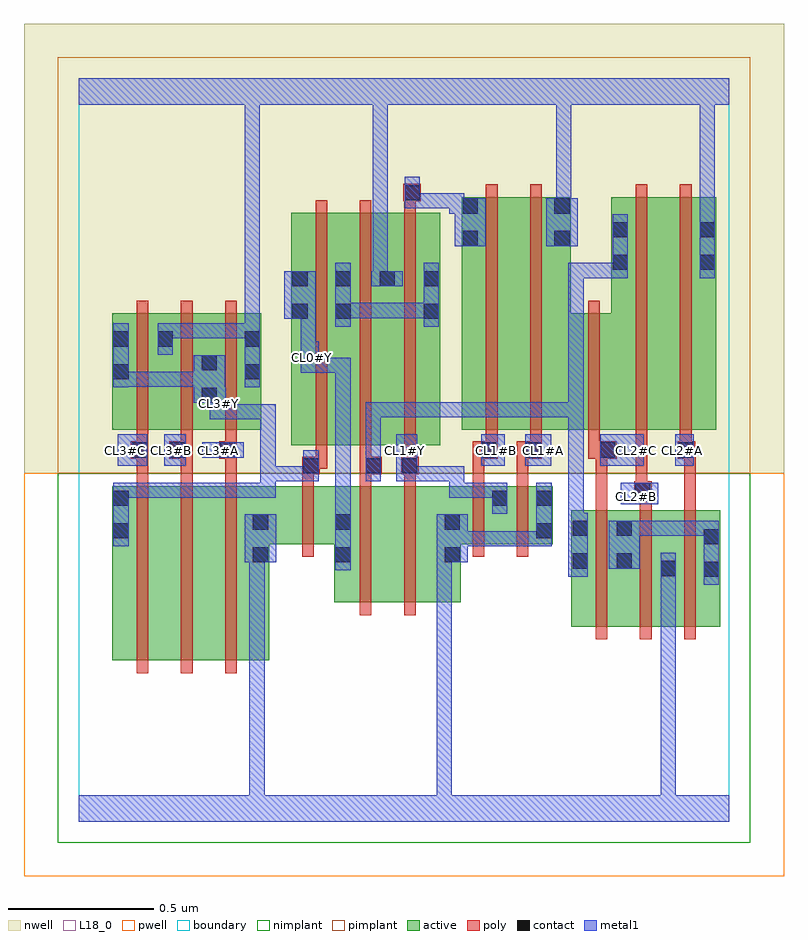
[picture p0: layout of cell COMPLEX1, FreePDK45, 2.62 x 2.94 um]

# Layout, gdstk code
import gdstk
lib = gdstk.Library(unit=1e-6, precision=1e-09)
def R(c, l, rs):  # rectangles x0, y0, x1, y1
    for r in rs: c.add(gdstk.rectangle(r[:2], r[2:], *l))
def A(c, l, x, y, w, h, nx, ny, dx, dy):  # array of equal rectangles
    R(c, l, [(x+i*dx, y+j*dy, x+i*dx+w, y+j*dy+h) for i in range(nx) for j in range(ny)])
active = (1, 0)
pwell = (2, 0)
nwell = (3, 0)
nimplant = (4, 0)
pimplant = (5, 0)
poly = (9, 0)
contact = (10, 0)
metal1 = (11, 0)
L18_0 = (18, 0)
boundary = (235, 0)

complex1 = lib.new_cell('COMPLEX1')
R(complex1, active, [(0.116,0.556,0.296,1.156), (0.116,0.556,0.176,1.156), (0.296,0.556,0.448,1.156), (0.448,0.556,0.656,1.156), (1.696,0.672,1.908,1.072), (1.848,0.672,2.06,1.072), (2,0.672,2.208,1.072), (2,0.672,2.06,0.93), (0.88,0.756,0.94,1.062), (0.88,0.756,1.064,1.156), (1.064,0.756,1.316,1.156), (1.256,0.756,1.316,1.062), (1.696,0.756,1.756,1.072), (1.848,0.756,1.908,1.04), (2.148,0.756,2.208,1.072), (0.596,0.882,0.656,1.156), (0.596,0.956,0.94,1.156), (1.256,0.956,1.48,1.156), (1.42,0.956,1.632,1.156), (1.42,0.956,1.48,1.144), (1.572,0.956,1.632,1.156), (0.732,1.296,0.792,2.096), (0.732,1.296,0.94,2.096), (0.88,1.296,1.092,2.096), (1.032,1.296,1.244,2.096), (1.184,1.296,1.244,2.044), (0.116,1.35,0.328,1.75), (0.116,1.35,0.176,1.75), (0.268,1.35,0.48,1.75), (0.42,1.35,0.628,1.75), (0.568,1.35,0.628,1.75), (1.318,1.35,1.498,2.15), (1.318,1.35,1.378,2.15), (1.498,1.35,1.694,2.15), (1.634,1.35,1.894,1.75), (1.834,1.35,2.014,2.15), (2.014,1.35,2.194,2.15), (2.134,1.35,2.194,2.068), (0.42,1.438,0.48,1.644), (1.834,1.576,1.894,2.068), (0.268,1.632,0.328,1.692), (1.032,1.654,1.092,2.096), (0.88,1.686,0.94,2.044), (1.634,1.73,1.694,2.15)])
R(complex1, pwell, [(-0.188,-0.188,2.428,1.2)])
R(complex1, nwell, [(-0.188,1.2,2.428,2.748)])
R(complex1, nimplant, [(-0.072,-0.072,2.312,1.2)])
R(complex1, pimplant, [(-0.072,1.2,2.312,2.632)])
A(complex1, poly, 0.2, 0.512, 0.04, 0.688, 3, 1, 0.152, 0)
A(complex1, poly, 1.78, 0.628, 0.04, 0.488, 3, 1, 0.152, 0)
A(complex1, poly, 0.2, 1.16, 0.04, 0.13, 3, 1, 0.152, 0)
A(complex1, poly, 0.816, 1.216, 0.04, 0.076, 3, 1, 0.152, 0)
A(complex1, poly, 0.816, 1.252, 0.04, 0.888, 3, 1, 0.152, 0)
A(complex1, poly, 0.2, 1.27, 0.04, 0.076, 3, 1, 0.152, 0)
A(complex1, poly, 0.2, 1.306, 0.04, 0.488, 3, 1, 0.152, 0)
R(complex1, poly, [(0.968,0.712,1.008,1.2), (1.12,0.712,1.16,1.2), (0.77,0.912,0.81,1.2), (1.356,0.912,1.396,1.2), (1.508,0.912,1.548,1.2), (1.78,1.076,1.82,1.29), (1.932,1.076,1.972,1.152), (2.084,1.076,2.124,1.29), (1.912,1.112,1.972,1.172), (1.918,1.132,1.958,1.172), (1.918,1.132,1.958,1.172), (1.918,1.132,1.958,1.346), (0.77,1.16,0.81,1.236), (0.968,1.16,1.008,1.236), (1.12,1.16,1.16,1.236), (1.356,1.16,1.396,1.29), (1.508,1.16,1.548,1.29), (0.77,1.196,0.83,1.256), (0.968,1.196,1.008,1.236), (0.968,1.196,1.008,1.236), (0.968,1.196,1.044,1.256), (1.11,1.196,1.17,1.256), (0.79,1.216,0.83,1.256), (0.79,1.216,0.856,1.256), (1.12,1.216,1.16,1.256), (1.12,1.216,1.16,1.256), (0.18,1.25,0.24,1.31), (0.312,1.25,0.392,1.31), (0.352,1.25,0.392,1.29), (0.352,1.25,0.392,1.29), (0.484,1.25,0.544,1.31), (1.356,1.25,1.442,1.31), (1.508,1.25,1.594,1.31), (1.754,1.25,1.852,1.31), (1.78,1.25,1.82,1.29), (1.78,1.25,1.82,1.29), (2.062,1.25,2.122,1.31), (2.082,1.25,2.122,1.29), (2.082,1.25,2.124,1.29), (0.2,1.27,0.24,1.31), (0.2,1.27,0.24,1.31), (0.504,1.27,0.544,1.31), (0.504,1.27,0.544,1.31), (1.402,1.27,1.442,1.346), (1.402,1.27,1.442,1.31), (1.402,1.27,1.442,1.31), (1.554,1.27,1.594,1.346), (1.554,1.27,1.594,1.31), (1.554,1.27,1.594,1.31), (1.754,1.27,1.794,1.346), (2.07,1.27,2.11,1.346), (1.402,1.306,1.442,2.194), (1.554,1.306,1.594,2.194), (1.754,1.306,1.794,1.794), (1.918,1.306,1.958,2.194), (2.07,1.306,2.11,2.194), (1.12,2.1,1.16,2.176), (1.118,2.136,1.178,2.196)])
A(complex1, contact, 0.884, 1.844, 0.052, 0.052, 3, 1, 0.152, 0)
R(complex1, contact, [(2.152,0.844,2.204,0.896), (2.004,0.846,2.056,0.898), (1.7,0.872,1.752,0.924), (1.852,0.872,1.904,0.924), (0.6,0.894,0.652,0.946), (0.884,0.894,0.936,0.946), (1.26,0.894,1.312,0.946), (2.152,0.956,2.204,1.008), (0.12,0.976,0.172,1.028), (1.576,0.976,1.628,1.028), (1.7,0.984,1.752,1.036), (1.852,0.984,1.904,1.036), (0.6,1.006,0.652,1.058), (0.884,1.006,0.936,1.058), (1.26,1.006,1.312,1.058), (0.12,1.088,0.172,1.14), (1.424,1.088,1.476,1.14), (1.576,1.088,1.628,1.14), (1.916,1.116,1.968,1.168), (0.774,1.2,0.826,1.252), (0.988,1.2,1.04,1.252), (1.114,1.2,1.166,1.252), (0.184,1.254,0.236,1.306), (0.316,1.254,0.368,1.306), (0.488,1.254,0.54,1.306), (1.386,1.254,1.438,1.306), (1.538,1.254,1.59,1.306), (1.796,1.254,1.848,1.306), (2.066,1.254,2.118,1.306), (0.424,1.442,0.476,1.494), (0.12,1.524,0.172,1.576), (0.572,1.524,0.624,1.576), (0.424,1.554,0.476,1.606), (0.12,1.636,0.172,1.688), (0.272,1.636,0.324,1.688), (0.572,1.636,0.624,1.688), (0.736,1.732,0.788,1.784), (0.884,1.732,0.936,1.784), (1.188,1.732,1.24,1.784), (0.736,1.844,0.788,1.896), (1.838,1.9,1.89,1.952), (2.138,1.9,2.19,1.952), (1.322,1.982,1.374,2.034), (1.638,1.982,1.69,2.034), (1.838,2.012,1.89,2.064), (2.138,2.012,2.19,2.064), (1.322,2.094,1.374,2.146), (1.638,2.094,1.69,2.146), (1.122,2.14,1.174,2.192)])
R(complex1, metal1, [(0,0,2.24,0.092), (0.588,0.04,0.64,0.092), (0.588,0.04,0.64,0.092), (0.588,0.04,0.64,0.092), (0.588,0.04,0.64,0.092), (0.588,0.04,0.64,0.092), (0.588,0.04,0.64,0.092), (0.588,0.04,0.64,0.092), (0.588,0.04,0.64,0.092), (0.588,0.04,0.64,0.946), (1.232,0.04,1.284,0.092), (1.232,0.04,1.284,0.092), (1.232,0.04,1.284,0.092), (1.232,0.04,1.284,0.092), (1.232,0.04,1.284,0.092), (1.232,0.04,1.284,0.092), (1.232,0.04,1.284,0.092), (1.232,0.04,1.284,0.092), (1.232,0.04,1.284,0.092), (1.232,0.04,1.284,0.092), (1.232,0.04,1.284,0.092), (1.232,0.04,1.284,0.092), (1.232,0.04,1.284,0.092), (1.232,0.04,1.284,0.092), (1.232,0.04,1.284,0.946), (2.004,0.04,2.056,0.092), (2.004,0.04,2.056,0.092), (2.004,0.04,2.056,0.092), (2.004,0.04,2.056,0.092), (2.004,0.04,2.056,0.092), (2.004,0.04,2.056,0.092), (2.004,0.04,2.056,0.092), (2.004,0.04,2.056,0.092), (2.004,0.04,2.056,0.092), (2.004,0.04,2.056,0.092), (2.004,0.04,2.056,0.092), (2.004,0.04,2.056,0.092), (2.004,0.04,2.056,0.87), (2.152,0.816,2.204,1.036), (2.004,0.818,2.056,0.926), (1.686,0.844,1.752,1.064), (0.884,0.866,0.936,1.086), (1.824,0.872,1.932,1.036), (0.572,0.894,0.68,1.058), (1.232,0.894,1.284,0.946), (1.232,0.894,1.284,0.946), (1.232,0.894,1.34,1.058), (0.12,0.948,0.172,1.168), (1.288,0.948,1.48,1), (1.428,0.948,1.48,1), (1.428,0.948,1.48,1), (1.428,0.948,1.48,1), (1.428,0.948,1.628,1), (1.576,0.948,1.628,1), (1.576,0.948,1.628,1), (1.576,0.948,1.628,1.168), (1.88,0.984,1.932,1.036), (1.88,0.984,1.932,1.036), (1.88,0.984,2.08,1.036), (2.028,0.984,2.08,1.036), (2.028,0.984,2.204,1.036), (2.152,0.984,2.204,1.036), (2.152,0.984,2.204,1.036), (1.686,1.012,1.738,1.444), (0.884,1.034,0.936,1.086), (0.884,1.034,0.936,1.086), (0.884,1.034,0.936,1.598), (1.424,1.06,1.476,1.168), (1.866,1.094,1.996,1.168), (0.12,1.116,0.172,1.168), (0.12,1.116,0.172,1.168), (0.12,1.116,0.338,1.168), (0.286,1.116,0.338,1.168), (0.286,1.116,0.338,1.168), (0.286,1.116,0.338,1.168), (0.286,1.116,0.514,1.168), (0.462,1.116,0.514,1.168), (0.462,1.116,0.514,1.168), (0.462,1.116,0.514,1.168), (0.462,1.116,0.678,1.168), (0.626,1.116,0.678,1.168), (0.626,1.116,0.678,1.224), (1.276,1.116,1.328,1.168), (1.276,1.116,1.476,1.168), (1.276,1.116,1.328,1.224), (1.424,1.116,1.476,1.168), (1.424,1.116,1.476,1.168), (0.626,1.172,0.678,1.224), (0.626,1.172,0.678,1.224), (0.626,1.172,0.678,1.224), (0.626,1.172,0.826,1.224), (0.626,1.172,0.678,1.438), (0.774,1.172,0.826,1.28), (0.988,1.172,1.04,1.28), (1.094,1.172,1.166,1.334), (1.114,1.172,1.328,1.224), (1.276,1.172,1.328,1.224), (1.276,1.172,1.328,1.224), (1.276,1.172,1.328,1.224), (0.134,1.226,0.236,1.334), (0.294,1.226,0.368,1.334), (1.386,1.226,1.466,1.334), (1.538,1.226,1.626,1.334), (1.796,1.226,1.946,1.334), (2.054,1.226,2.118,1.334), (0.988,1.228,1.04,1.28), (0.988,1.228,1.04,1.444), (0.426,1.254,0.568,1.306), (0.452,1.386,0.506,1.494), (0.454,1.386,0.506,1.438), (0.454,1.386,0.506,1.438), (0.454,1.386,0.678,1.438), (0.626,1.386,0.678,1.438), (0.988,1.392,1.174,1.444), (1.122,1.392,1.174,1.444), (1.122,1.392,1.284,1.444), (1.232,1.392,1.284,1.444), (1.232,1.392,1.284,1.444), (1.232,1.392,1.284,1.444), (1.232,1.392,1.476,1.444), (1.424,1.392,1.476,1.444), (1.424,1.392,1.476,1.444), (1.424,1.392,1.476,1.444), (1.424,1.392,1.628,1.444), (1.576,1.392,1.628,1.444), (1.576,1.392,1.628,1.444), (1.576,1.392,1.628,1.444), (1.576,1.392,1.738,1.444), (1.686,1.392,1.738,1.444), (1.686,1.392,1.738,1.444), (1.686,1.392,1.738,1.444), (1.686,1.392,1.738,1.924), (0.396,1.442,0.504,1.606), (0.452,1.442,0.504,1.494), (0.12,1.496,0.172,1.716), (0.572,1.496,0.624,1.716), (0.12,1.498,0.172,1.55), (0.12,1.498,0.172,1.55), (0.12,1.498,0.338,1.55), (0.286,1.498,0.338,1.55), (0.286,1.498,0.338,1.55), (0.286,1.498,0.338,1.55), (0.286,1.498,0.448,1.55), (0.764,1.546,0.826,1.654), (0.774,1.546,0.926,1.598), (0.874,1.546,0.926,1.598), (0.874,1.546,0.936,1.598), (0.884,1.546,0.936,1.598), (0.764,1.602,0.816,1.784), (0.272,1.608,0.324,1.716), (0.272,1.664,0.324,1.716), (0.272,1.664,0.324,1.716), (0.272,1.664,0.514,1.716), (0.462,1.664,0.514,1.716), (0.462,1.664,0.514,1.716), (0.462,1.664,0.514,1.716), (0.462,1.664,0.624,1.716), (0.572,1.664,0.624,2.52), (0.884,1.704,0.936,1.924), (1.188,1.704,1.24,1.924), (0.708,1.732,0.816,1.896), (0.884,1.734,1.036,1.786), (0.984,1.734,1.036,1.786), (0.984,1.734,1.046,1.786), (0.994,1.734,1.046,1.786), (0.994,1.734,1.174,1.786), (1.122,1.734,1.174,1.786), (1.122,1.734,1.24,1.786), (1.008,1.844,1.116,1.896), (1.012,1.844,1.064,2.52), (1.686,1.872,1.738,1.924), (1.686,1.872,1.738,1.924), (1.686,1.872,1.738,1.924), (1.686,1.872,1.89,1.924), (1.838,1.872,1.89,2.092), (2.138,1.872,2.19,2.092), (1.294,1.982,1.402,2.146), (1.61,1.982,1.718,2.146), (2.138,2.04,2.19,2.092), (2.138,2.04,2.19,2.092), (2.138,2.04,2.19,2.092), (2.138,2.04,2.19,2.092), (2.138,2.04,2.19,2.092), (2.138,2.04,2.19,2.092), (2.138,2.04,2.19,2.092), (2.138,2.04,2.19,2.092), (2.138,2.04,2.19,2.52), (1.276,2.094,1.328,2.146), (1.276,2.094,1.346,2.146), (1.276,2.094,1.328,2.164), (1.644,2.094,1.696,2.146), (1.644,2.094,1.696,2.146), (1.644,2.094,1.696,2.52), (1.122,2.112,1.174,2.22), (1.122,2.112,1.328,2.164), (1.276,2.112,1.328,2.164), (0,2.468,2.24,2.56), (0.572,2.468,0.624,2.52), (0.572,2.468,0.624,2.52), (0.572,2.468,0.624,2.52), (0.572,2.468,0.624,2.52), (0.572,2.468,0.624,2.52), (0.572,2.468,0.624,2.52), (0.572,2.468,0.624,2.52), (0.572,2.468,0.624,2.52), (0.572,2.468,0.624,2.52), (0.572,2.468,0.624,2.52), (0.572,2.468,0.624,2.52), (0.572,2.468,0.624,2.52), (0.572,2.468,0.624,2.52), (0.572,2.468,0.624,2.52), (0.572,2.468,0.624,2.52), (0.572,2.468,0.624,2.52), (1.012,2.468,1.064,2.52), (1.012,2.468,1.064,2.52), (1.012,2.468,1.064,2.52), (1.012,2.468,1.064,2.52), (1.012,2.468,1.064,2.52), (1.012,2.468,1.064,2.52), (1.012,2.468,1.064,2.52), (1.012,2.468,1.064,2.52), (1.644,2.468,1.696,2.52), (1.644,2.468,1.696,2.52), (1.644,2.468,1.696,2.52), (1.644,2.468,1.696,2.52), (1.644,2.468,1.696,2.52), (1.644,2.468,1.696,2.52)])
A(complex1, L18_0, 0.134, 1.254, 0.052, 0.052, 3, 1, 0.16, 0)
R(complex1, L18_0, [(0,0,2.24,0.092), (0.588,0.04,0.64,0.092), (0.588,0.04,0.64,0.092), (0.588,0.04,0.64,0.092), (0.588,0.04,0.64,0.092), (0.588,0.04,0.64,0.092), (0.588,0.04,0.64,0.092), (0.588,0.04,0.64,0.092), (0.588,0.04,0.64,0.092), (0.588,0.04,0.64,0.946), (1.232,0.04,1.284,0.092), (1.232,0.04,1.284,0.092), (1.232,0.04,1.284,0.092), (1.232,0.04,1.284,0.092), (1.232,0.04,1.284,0.092), (1.232,0.04,1.284,0.092), (1.232,0.04,1.284,0.092), (1.232,0.04,1.284,0.092), (1.232,0.04,1.284,0.092), (1.232,0.04,1.284,0.092), (1.232,0.04,1.284,0.092), (1.232,0.04,1.284,0.092), (1.232,0.04,1.284,0.092), (1.232,0.04,1.284,0.092), (1.232,0.04,1.284,0.946), (2.004,0.04,2.056,0.092), (2.004,0.04,2.056,0.092), (2.004,0.04,2.056,0.092), (2.004,0.04,2.056,0.092), (2.004,0.04,2.056,0.092), (2.004,0.04,2.056,0.092), (2.004,0.04,2.056,0.092), (2.004,0.04,2.056,0.092), (2.004,0.04,2.056,0.092), (2.004,0.04,2.056,0.092), (2.004,0.04,2.056,0.092), (2.004,0.04,2.056,0.092), (2.004,0.04,2.056,0.87), (2.004,0.818,2.056,0.926), (0.884,0.866,0.936,1.086), (0.572,0.894,0.68,1.058), (1.232,0.894,1.284,0.946), (1.232,0.894,1.284,0.946), (1.232,0.894,1.34,1.058), (0.12,0.948,0.172,1.168), (1.288,0.948,1.48,1), (1.428,0.948,1.48,1), (1.428,0.948,1.48,1), (1.428,0.948,1.48,1), (1.428,0.948,1.628,1), (1.576,0.948,1.628,1.168), (1.576,0.948,1.628,1), (1.576,0.948,1.628,1), (0.884,1.034,0.936,1.086), (0.884,1.034,0.936,1.086), (0.884,1.034,0.936,1.598), (1.424,1.06,1.476,1.168), (1.866,1.094,1.996,1.168), (1.894,1.094,1.946,1.146), (0.12,1.116,0.172,1.168), (0.12,1.116,0.172,1.168), (0.12,1.116,0.338,1.168), (0.286,1.116,0.338,1.168), (0.286,1.116,0.338,1.168), (0.286,1.116,0.338,1.168), (0.286,1.116,0.514,1.168), (0.462,1.116,0.514,1.168), (0.462,1.116,0.514,1.168), (0.462,1.116,0.514,1.168), (0.462,1.116,0.678,1.168), (0.626,1.116,0.678,1.168), (0.626,1.116,0.678,1.224), (1.276,1.116,1.328,1.168), (1.276,1.116,1.328,1.224), (1.276,1.116,1.476,1.168), (1.424,1.116,1.476,1.168), (1.424,1.116,1.476,1.168), (0.626,1.172,0.678,1.224), (0.626,1.172,0.678,1.224), (0.626,1.172,0.678,1.224), (0.626,1.172,0.678,1.438), (0.626,1.172,0.826,1.224), (0.774,1.172,0.826,1.28), (1.094,1.172,1.166,1.334), (1.114,1.172,1.328,1.224), (1.276,1.172,1.328,1.224), (1.276,1.172,1.328,1.224), (1.276,1.172,1.328,1.224), (0.134,1.226,0.236,1.334), (0.294,1.226,0.368,1.334), (1.386,1.226,1.466,1.334), (1.538,1.226,1.626,1.334), (1.796,1.226,1.946,1.334), (2.054,1.226,2.118,1.334), (0.426,1.254,0.568,1.306), (1.094,1.254,1.146,1.306), (1.414,1.254,1.466,1.306), (1.574,1.254,1.626,1.306), (1.894,1.254,1.946,1.306), (2.054,1.254,2.106,1.306), (0.452,1.386,0.506,1.494), (0.454,1.386,0.506,1.438), (0.454,1.386,0.506,1.438), (0.454,1.386,0.678,1.438), (0.626,1.386,0.678,1.438), (0.454,1.414,0.506,1.466), (0.396,1.442,0.504,1.606), (0.452,1.442,0.504,1.494), (0.12,1.496,0.172,1.716), (0.572,1.496,0.624,1.716), (0.12,1.498,0.172,1.55), (0.12,1.498,0.172,1.55), (0.12,1.498,0.338,1.55), (0.286,1.498,0.338,1.55), (0.286,1.498,0.338,1.55), (0.286,1.498,0.338,1.55), (0.286,1.498,0.448,1.55), (0.764,1.546,0.826,1.654), (0.774,1.546,0.926,1.598), (0.874,1.546,0.926,1.598), (0.874,1.546,0.936,1.598), (0.884,1.546,0.936,1.598), (0.774,1.574,0.826,1.626), (0.764,1.602,0.816,1.784), (0.272,1.608,0.324,1.716), (0.272,1.664,0.324,1.716), (0.272,1.664,0.324,1.716), (0.272,1.664,0.514,1.716), (0.462,1.664,0.514,1.716), (0.462,1.664,0.514,1.716), (0.462,1.664,0.514,1.716), (0.462,1.664,0.624,1.716), (0.572,1.664,0.624,2.52), (0.708,1.732,0.816,1.896), (1.008,1.844,1.116,1.896), (1.012,1.844,1.064,2.52), (2.138,1.872,2.19,2.092), (1.294,1.982,1.402,2.146), (1.61,1.982,1.718,2.146), (2.138,2.04,2.19,2.092), (2.138,2.04,2.19,2.092), (2.138,2.04,2.19,2.092), (2.138,2.04,2.19,2.092), (2.138,2.04,2.19,2.092), (2.138,2.04,2.19,2.092), (2.138,2.04,2.19,2.092), (2.138,2.04,2.19,2.092), (2.138,2.04,2.19,2.52), (1.276,2.094,1.328,2.146), (1.276,2.094,1.328,2.164), (1.276,2.094,1.346,2.146), (1.644,2.094,1.696,2.146), (1.644,2.094,1.696,2.146), (1.644,2.094,1.696,2.52), (1.122,2.112,1.174,2.22), (1.122,2.112,1.328,2.164), (1.276,2.112,1.328,2.164), (0,2.468,2.24,2.56), (0.572,2.468,0.624,2.52), (0.572,2.468,0.624,2.52), (0.572,2.468,0.624,2.52), (0.572,2.468,0.624,2.52), (0.572,2.468,0.624,2.52), (0.572,2.468,0.624,2.52), (0.572,2.468,0.624,2.52), (0.572,2.468,0.624,2.52), (0.572,2.468,0.624,2.52), (0.572,2.468,0.624,2.52), (0.572,2.468,0.624,2.52), (0.572,2.468,0.624,2.52), (0.572,2.468,0.624,2.52), (0.572,2.468,0.624,2.52), (0.572,2.468,0.624,2.52), (0.572,2.468,0.624,2.52), (1.012,2.468,1.064,2.52), (1.012,2.468,1.064,2.52), (1.012,2.468,1.064,2.52), (1.012,2.468,1.064,2.52), (1.012,2.468,1.064,2.52), (1.012,2.468,1.064,2.52), (1.012,2.468,1.064,2.52), (1.012,2.468,1.064,2.52), (1.644,2.468,1.696,2.52), (1.644,2.468,1.696,2.52), (1.644,2.468,1.696,2.52), (1.644,2.468,1.696,2.52), (1.644,2.468,1.696,2.52), (1.644,2.468,1.696,2.52)])
R(complex1, boundary, [(0,0,2.24,2.56)])
complex1.add(gdstk.Label('CL0#Y', (0.8,1.6), layer=11, texttype=0))
complex1.add(gdstk.Label('CL1#A', (1.6,1.28), layer=11, texttype=0))
complex1.add(gdstk.Label('CL1#B', (1.44,1.28), layer=11, texttype=0))
complex1.add(gdstk.Label('CL1#Y', (1.12,1.28), layer=11, texttype=0))
complex1.add(gdstk.Label('CL2#A', (2.08,1.28), layer=11, texttype=0))
complex1.add(gdstk.Label('CL2#B', (1.92,1.12), layer=11, texttype=0))
complex1.add(gdstk.Label('CL2#C', (1.92,1.28), layer=11, texttype=0))
complex1.add(gdstk.Label('CL3#A', (0.48,1.28), layer=11, texttype=0))
complex1.add(gdstk.Label('CL3#B', (0.32,1.28), layer=11, texttype=0))
complex1.add(gdstk.Label('CL3#C', (0.16,1.28), layer=11, texttype=0))
complex1.add(gdstk.Label('CL3#Y', (0.48,1.44), layer=11, texttype=0))

lib.write_gds('COMPLEX1.gds')
